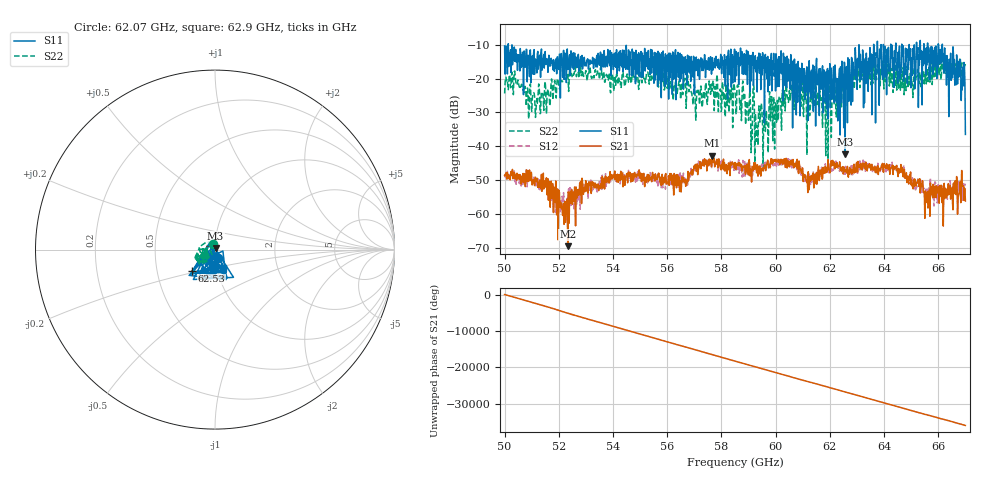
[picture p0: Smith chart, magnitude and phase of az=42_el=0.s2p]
!Created with skrf (http://scikit-rf.org).
# GHz S RI R 50.0
!freq ReS11 ImS11 ReS21 ImS21 ReS12 ImS12 ReS22 ImS22
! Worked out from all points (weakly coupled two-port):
!   1001 points, 50 GHz to 67 GHz, reference 50 ohm
!   highest |S21| = -42.73 dB at 57.67 GHz (marker M1); lowest = -69.5 dB at 52.33 GHz (marker M2)
!   lowest |S11| = -42.4 dB at 62.56 GHz (marker M3), VSWR 1.02, Z = 50.3 + j0.68 ohm
!   |S11| at or under -10 dB: 50.14 GHz to 63.07 GHz (12.94 GHz wide, 22.9 % of centre); 63.07 GHz to 63.62 GHz (543.5 MHz wide, 0.858 % of centre); 66.15 GHz to end of sweep (the widest 3 of 17)
!   |S22| runs from -47.0 to -13.9 dB; largest |S21 - S12| = 0.002
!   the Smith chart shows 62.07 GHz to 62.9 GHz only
!   S11 on the Smith chart (normalised r, x): 62.07 GHz: 1.03, -0.10; 62.53 GHz: 0.75, -0.19; 62.9 GHz: 1.06, -0.22
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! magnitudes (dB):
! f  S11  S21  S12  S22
! 50 GHz  -10.3  -48.6  -48.3  -24.4
! 50.42 GHz  -15.0  -48.5  -51.2  -21.6
! 51.07 GHz  -12.4  -50.4  -50.8  -24.1
! 52.33 GHz  -16.2  -69.5  -67.6  -18.5
! 52.84 GHz  -14.5  -56.9  -56.3  -19.1
! 55.68 GHz  -13.8  -47.9  -50.8  -22.5
! 56.99 GHz  -14.7  -45.8  -47.1  -21.8
! 57.67 GHz  -13.8  -42.7  -43.7  -23.5
! 58.5 GHz  -20.9  -44.8  -45.7  -24.1
! 58.86 GHz  -17.2  -45.8  -44.5  -24.7
! 59.32 GHz  -23.9  -45.4  -47.0  -33.9
! 60.64 GHz  -14.8  -43.9  -44.0  -21.9
! 61.34 GHz  -23.8  -48.6  -50.5  -24.6
! 62.07 GHz  -26.0  -45.8  -47.4  -29.5
! 62.53 GHz  -15.1  -46.2  -46.7  -18.8
! 62.56 GHz  -42.4  -47.4  -48.8  -19.7
! 62.9 GHz  -19.1  -47.8  -46.3  -23.0
! 64.18 GHz  -17.8  -46.7  -46.7  -18.5
! 65.57 GHz  -16.0  -55.2  -52.7  -19.2
! 66.08 GHz  -15.5  -54.6  -54.7  -15.8
! 66.9 GHz  -16.6  -51.5  -55.9  -15.3
! 67 GHz  -36.5  -56.2  -51.0  -15.7
